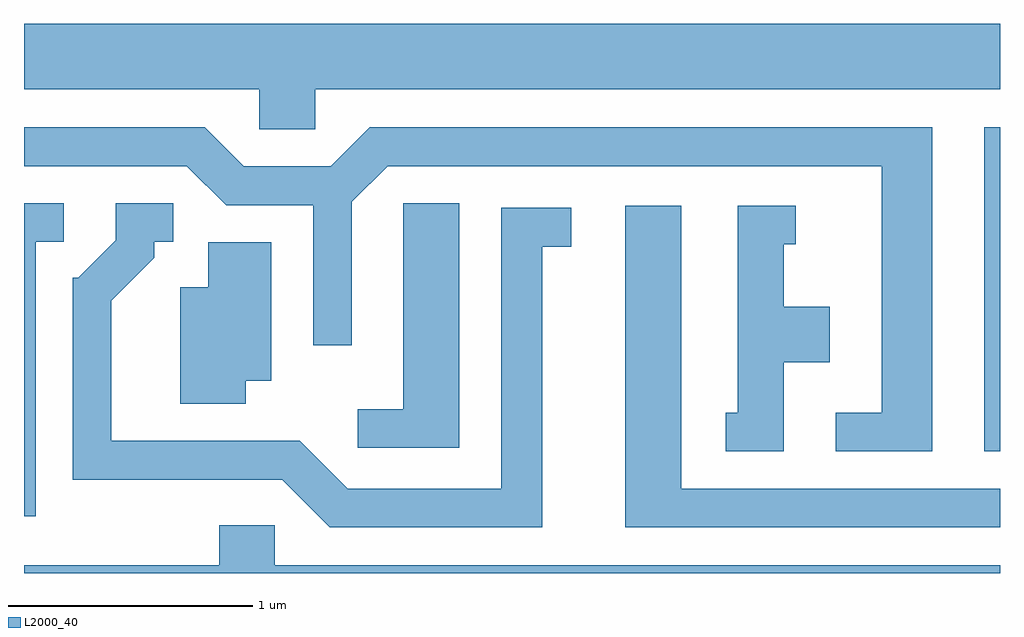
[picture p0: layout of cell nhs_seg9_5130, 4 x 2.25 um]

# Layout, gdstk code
import gdstk
lib = gdstk.Library(unit=1e-6, precision=1e-09)
def R(c, l, rs):  # rectangles x0, y0, x1, y1
    for r in rs: c.add(gdstk.rectangle(r[:2], r[2:], *l))
def P(c, l, *ps):  # polygons
    for p in ps: c.add(gdstk.Polygon(p, *l))
L2000_40 = (2000, 40)

nhs_seg9_5130 = lib.new_cell('nhs_seg9_5130')
R(nhs_seg9_5130, L2000_40, [(339.546,2056.931,339.611,2058.259)])
P(nhs_seg9_5130, L2000_40, [(336.804,2058.416),(339.611,2058.416),(339.611,2058.684),(335.611,2058.684),(335.611,2058.416),(336.576,2058.416),(336.576,2058.251),(336.804,2058.251)],
  [(339.334,2058.259),(337.029,2058.259),(336.869,2058.099),(336.512,2058.099),(336.352,2058.259),(335.611,2058.259),(335.611,2058.101),(336.279,2058.101),(336.439,2057.941),(336.796,2057.941),(336.796,2057.367),(336.954,2057.367),(336.954,2057.954),(337.102,2058.101),(339.126,2058.101),(339.126,2057.089),(338.938,2057.089),(338.938,2056.931),(339.334,2056.931)],
  [(337.734,2057.771),(337.853,2057.771),(337.853,2057.929),(337.566,2057.929),(337.566,2056.779),(336.937,2056.779),(336.742,2056.974),(335.969,2056.974),(335.969,2057.548),(336.144,2057.724),(336.144,2057.791),(336.223,2057.791),(336.223,2057.949),(335.986,2057.949),(335.986,2057.797),(335.834,2057.644),(335.811,2057.644),(335.811,2056.816),(336.669,2056.816),(336.864,2056.621),(337.734,2056.621)],
  [(335.659,2057.791),(335.773,2057.791),(335.773,2057.949),(335.611,2057.949),(335.611,2056.666),(335.659,2056.666)],
  [(337.394,2057.949),(337.166,2057.949),(337.166,2057.104),(336.978,2057.104),(336.978,2056.946),(337.394,2056.946)],
  [(339.611,2056.779),(338.304,2056.779),(338.304,2057.939),(338.076,2057.939),(338.076,2056.621),(339.611,2056.621)],
  [(338.724,2057.296),(338.914,2057.296),(338.914,2057.524),(338.724,2057.524),(338.724,2057.781),(338.773,2057.781),(338.773,2057.939),(338.536,2057.939),(338.536,2057.089),(338.488,2057.089),(338.488,2056.931),(338.724,2056.931)],
  [(336.519,2057.221),(336.624,2057.221),(336.624,2057.789),(336.366,2057.789),(336.366,2057.604),(336.251,2057.604),(336.251,2057.126),(336.519,2057.126)],
  [(339.611,2056.464),(336.639,2056.464),(336.639,2056.629),(336.411,2056.629),(336.411,2056.464),(335.611,2056.464),(335.611,2056.432),(339.611,2056.432)])

lib.write_gds('nhs_seg9_5130.gds')
